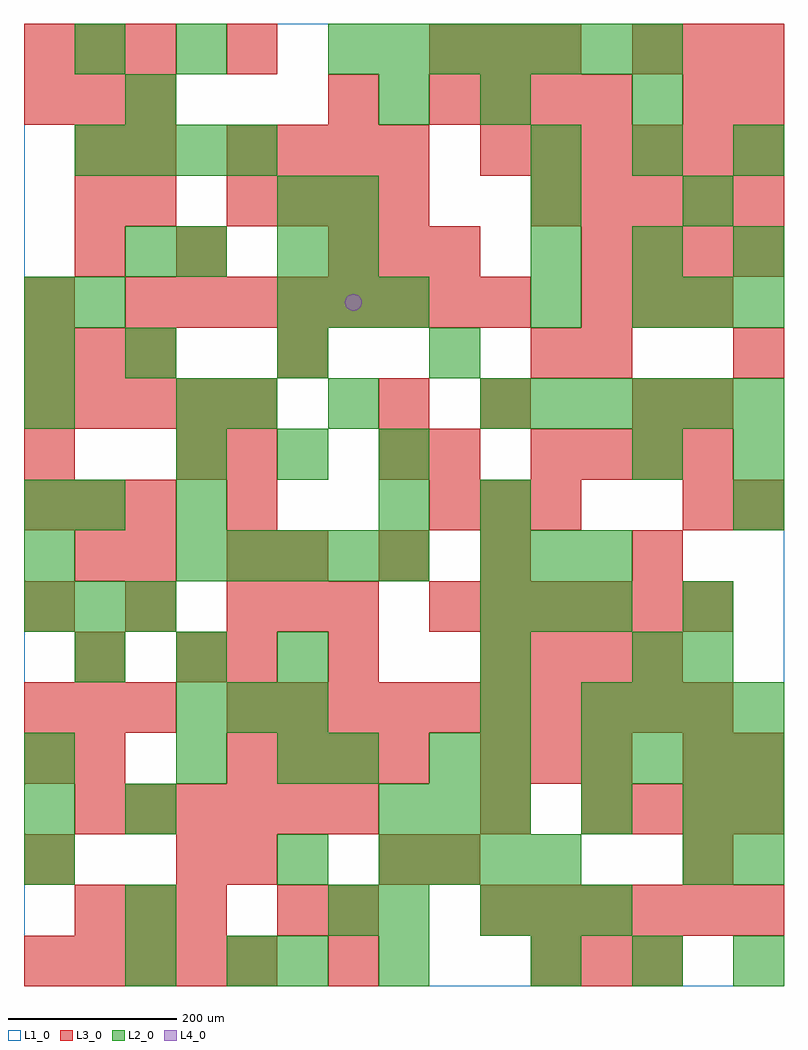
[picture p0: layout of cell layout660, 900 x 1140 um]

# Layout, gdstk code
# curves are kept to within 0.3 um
import gdstk
lib = gdstk.Library(unit=1e-6, precision=1e-09)
def R(c, l, rs):  # rectangles x0, y0, x1, y1
    for r in rs: c.add(gdstk.rectangle(r[:2], r[2:], *l))
def A(c, l, x, y, w, h, nx, ny, dx, dy):  # array of equal rectangles
    R(c, l, [(x+i*dx, y+j*dy, x+i*dx+w, y+j*dy+h) for i in range(nx) for j in range(ny)])
def P(c, l, *ps):  # polygons
    for p in ps: c.add(gdstk.Polygon(p, *l))
L1_0 = (1, 0)
L2_0 = (2, 0)
L3_0 = (3, 0)
L4_0 = (4, 0)

layout660 = lib.new_cell('layout660')
R(layout660, L1_0, [(0,0,900,1140)])
A(layout660, L2_0, 300, 0, 60, 60, 1, 3, 0, 120)
A(layout660, L2_0, 600, 0, 60, 60, 3, 2, 120, 840)
A(layout660, L2_0, 420, 60, 60, 60, 1, 3, 0, 480)
A(layout660, L2_0, 540, 60, 60, 60, 3, 2, 60, 360)
A(layout660, L2_0, 0, 120, 60, 60, 1, 3, 0, 60)
A(layout660, L2_0, 420, 120, 60, 60, 4, 1, 60, 0)
A(layout660, L2_0, 420, 180, 60, 60, 3, 1, 60, 0)
A(layout660, L2_0, 540, 240, 60, 60, 1, 3, 0, 60)
A(layout660, L2_0, 660, 240, 60, 60, 4, 2, 60, 60)
A(layout660, L2_0, 180, 300, 60, 60, 3, 1, 60, 0)
A(layout660, L2_0, 60, 360, 60, 60, 3, 1, 120, 0)
A(layout660, L2_0, 0, 420, 60, 60, 3, 1, 60, 0)
A(layout660, L2_0, 180, 480, 60, 60, 5, 1, 60, 0)
A(layout660, L2_0, 540, 480, 60, 60, 3, 1, 60, 0)
A(layout660, L2_0, 180, 600, 60, 60, 3, 1, 120, 0)
A(layout660, L2_0, 0, 660, 60, 60, 1, 3, 0, 60)
A(layout660, L2_0, 540, 660, 60, 60, 6, 1, 60, 0)
A(layout660, L2_0, 120, 720, 60, 60, 3, 1, 180, 0)
A(layout660, L2_0, 300, 780, 60, 60, 3, 1, 60, 0)
A(layout660, L2_0, 720, 780, 60, 60, 3, 1, 60, 0)
A(layout660, L2_0, 60, 960, 60, 60, 4, 1, 60, 0)
A(layout660, L2_0, 600, 960, 60, 60, 3, 1, 120, 0)
A(layout660, L2_0, 360, 1080, 60, 60, 7, 1, 60, 0)
R(layout660, L2_0, [(120,0,180,60), (240,0,300,60), (420,0,480,60), (120,60,180,120), (360,60,420,120), (780,120,840,180), (840,120,900,180), (120,180,180,240), (660,180,720,240), (780,180,840,240), (840,180,900,240), (180,240,240,300), (360,240,420,300), (480,240,540,300), (720,360,780,420), (780,360,840,420), (780,420,840,480), (0,480,60,540), (0,540,60,600), (60,540,120,600), (180,540,240,600), (540,540,600,600), (840,540,900,600), (720,600,780,660), (840,600,900,660), (180,660,240,720), (240,660,300,720), (360,660,420,720), (60,780,120,840), (600,780,660,840), (120,840,180,900), (180,840,240,900), (300,840,360,900), (360,840,420,900), (300,900,360,960), (360,900,420,960), (600,900,660,960), (780,900,840,960), (120,1020,180,1080), (540,1020,600,1080), (720,1020,780,1080), (60,1080,120,1140), (180,1080,240,1140)])
A(layout660, L3_0, 0, 0, 60, 60, 5, 2, 60, 660)
A(layout660, L3_0, 600, 0, 60, 60, 3, 1, 60, 0)
A(layout660, L3_0, 60, 60, 60, 60, 3, 1, 60, 0)
A(layout660, L3_0, 540, 60, 60, 60, 6, 2, 60, 900)
A(layout660, L3_0, 180, 120, 60, 60, 1, 4, 0, 240)
A(layout660, L3_0, 60, 180, 60, 60, 6, 1, 60, 0)
A(layout660, L3_0, 660, 180, 60, 60, 4, 2, 60, 660)
A(layout660, L3_0, 60, 240, 60, 60, 1, 3, 0, 120)
A(layout660, L3_0, 240, 240, 60, 60, 4, 2, 60, 660)
A(layout660, L3_0, 540, 240, 60, 60, 3, 1, 60, 0)
A(layout660, L3_0, 0, 300, 60, 60, 3, 2, 60, 240)
A(layout660, L3_0, 240, 300, 60, 60, 10, 1, 60, 0)
A(layout660, L3_0, 540, 360, 60, 60, 4, 1, 60, 0)
A(layout660, L3_0, 0, 420, 60, 60, 3, 1, 120, 0)
A(layout660, L3_0, 480, 420, 60, 60, 6, 1, 60, 0)
A(layout660, L3_0, 240, 480, 60, 60, 1, 3, 0, 60)
A(layout660, L3_0, 300, 480, 60, 60, 3, 1, 120, 0)
A(layout660, L3_0, 480, 540, 60, 60, 3, 2, 60, 540)
A(layout660, L3_0, 600, 600, 60, 60, 4, 1, 60, 0)
A(layout660, L3_0, 0, 720, 60, 60, 3, 2, 60, 300)
A(layout660, L3_0, 120, 780, 60, 60, 8, 1, 60, 0)
A(layout660, L3_0, 660, 780, 60, 60, 3, 1, 60, 0)
A(layout660, L3_0, 60, 840, 60, 60, 1, 3, 0, 60)
A(layout660, L3_0, 360, 840, 60, 60, 3, 1, 60, 0)
A(layout660, L3_0, 600, 900, 60, 60, 5, 1, 60, 0)
A(layout660, L3_0, 240, 960, 60, 60, 4, 1, 60, 0)
A(layout660, L3_0, 480, 1020, 60, 60, 4, 1, 60, 0)
A(layout660, L3_0, 0, 1080, 60, 60, 3, 1, 60, 0)
A(layout660, L3_0, 720, 1080, 60, 60, 3, 1, 60, 0)
R(layout660, L3_0, [(360,0,420,60), (300,60,360,120), (360,60,420,120), (0,120,60,180), (240,120,300,180), (420,120,480,180), (480,120,540,180), (780,120,840,180), (540,180,600,240), (0,240,60,300), (780,240,840,300), (840,240,900,300), (240,360,300,420), (360,360,420,420), (300,420,360,480), (360,420,420,480), (120,480,180,540), (720,480,780,540), (780,540,840,600), (840,540,900,600), (0,600,60,660), (420,600,480,660), (480,600,540,660), (420,660,480,720), (540,660,600,720), (720,660,780,720), (780,660,840,720), (300,720,360,780), (600,720,660,780), (660,720,720,780), (840,720,900,780), (0,780,60,840), (120,900,180,960), (120,960,180,1020), (360,1020,420,1080), (780,1020,840,1080), (840,1020,900,1080), (240,1080,300,1140)])
P(layout660, L4_0, [(400,810),(399.239,813.827),(397.071,817.071),(393.827,819.239),(390,820),(386.173,819.239),(382.929,817.071),(380.761,813.827),(380,810),(380.761,806.173),(382.929,802.929),(386.173,800.761),(390,800),(393.827,800.761),(397.071,802.929),(399.239,806.173)])

lib.write_gds('layout660.gds')
